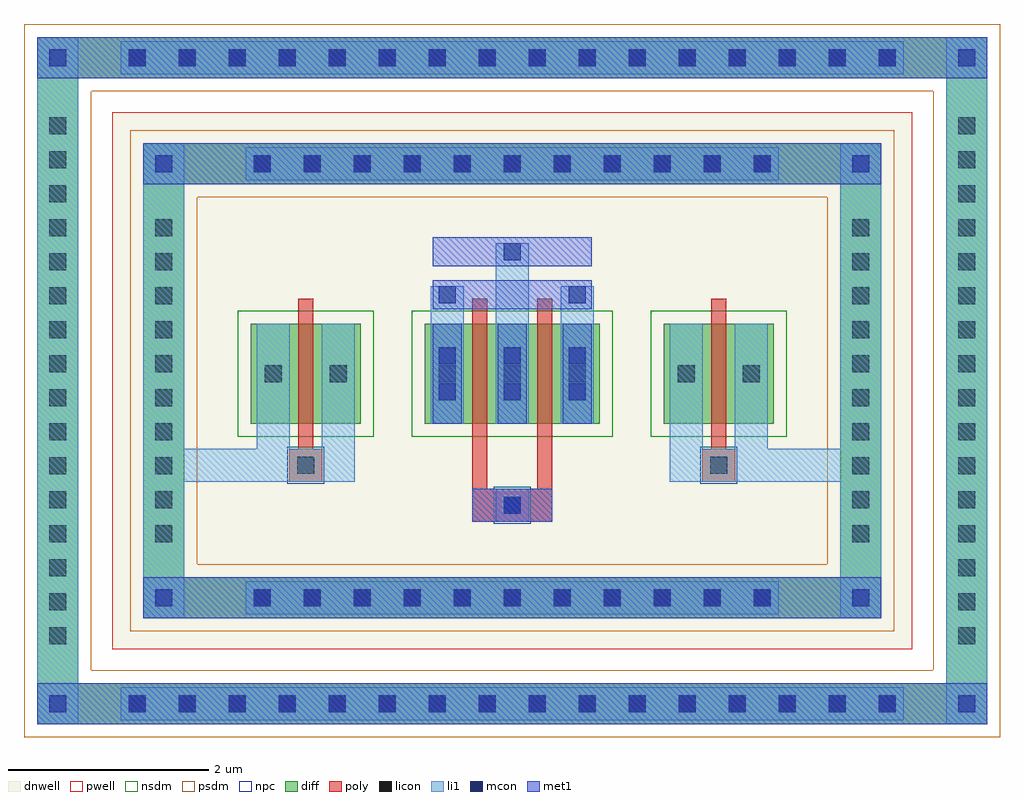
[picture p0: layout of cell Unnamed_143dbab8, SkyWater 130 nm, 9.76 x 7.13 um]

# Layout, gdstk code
import gdstk
lib = gdstk.Library(unit=1e-6, precision=5e-09)
def R(c, l, rs):  # rectangles x0, y0, x1, y1
    for r in rs: c.add(gdstk.rectangle(r[:2], r[2:], *l))
def A(c, l, x, y, w, h, nx, ny, dx, dy):  # array of equal rectangles
    R(c, l, [(x+i*dx, y+j*dy, x+i*dx+w, y+j*dy+h) for i in range(nx) for j in range(ny)])
def P(c, l, *ps):  # polygons
    for p in ps: c.add(gdstk.Polygon(p, *l))
dnwell = (64, 18)
pwell = (64, 44)
diff = (65, 20)
poly = (66, 20)
licon = (66, 44)
li1 = (67, 20)
mcon = (67, 44)
met1 = (68, 20)
nsdm = (93, 44)
psdm = (94, 20)
npc = (95, 20)

unnamed_143dbab8 = lib.new_cell('Unnamed_143dbab8')
R(unnamed_143dbab8, dnwell, [(-4,-2.685,4,2.685)])
R(unnamed_143dbab8, pwell, [(-4,-2.685,4,2.685)])
A(unnamed_143dbab8, diff, -3.955, -3.435, 0.41, 0.41, 16, 2, 0.5, 6.46)
A(unnamed_143dbab8, diff, -4.75, -2.755, 0.41, 0.41, 1, 16, 0, 0.34)
A(unnamed_143dbab8, diff, 4.34, -2.755, 0.41, 0.41, 1, 16, 0, 0.34)
A(unnamed_143dbab8, diff, -2.705, -2.375, 0.41, 0.41, 11, 2, 0.5, 4.34)
A(unnamed_143dbab8, diff, -3.69, -1.735, 0.41, 0.41, 1, 10, 0, 0.34)
A(unnamed_143dbab8, diff, 3.28, -1.735, 0.41, 0.41, 1, 10, 0, 0.34)
R(unnamed_143dbab8, diff, [(-3.955,-3.435,3.955,-3.025), (-4.75,-2.755,-4.34,2.755), (4.34,-2.755,4.75,2.755), (-2.705,-2.375,2.705,-1.965), (-3.69,-1.735,-3.28,1.735), (3.28,-1.735,3.69,1.735), (-2.615,-0.43,-1.515,0.57), (-0.875,-0.43,0.875,0.57), (1.515,-0.43,2.615,0.57), (-2.705,1.965,2.705,2.375), (-3.955,3.025,3.955,3.435)])
P(unnamed_143dbab8, diff, [(4.75,3.435),(-4.75,3.435),(-4.75,-3.025),(-4.34,-3.025),(-4.34,3.025),(4.34,3.025),(4.34,-3.025),(-4.34,-3.025),(-4.75,-3.025),(-4.75,-3.435),(4.75,-3.435)],
  [(3.69,2.375),(-3.69,2.375),(-3.69,-1.965),(-3.28,-1.965),(-3.28,1.965),(3.28,1.965),(3.28,-1.965),(-3.28,-1.965),(-3.69,-1.965),(-3.69,-2.375),(3.69,-2.375)])
R(unnamed_143dbab8, poly, [(-0.4,-1.41,0.4,-1.08), (-0.165,-1.41,0.165,-1.08), (-0.4,-1.08,-0.25,-0.68), (0.25,-1.08,0.4,-0.68), (-2.23,-1.01,-1.9,-0.68), (-2.23,-1.01,-1.9,-0.68), (1.9,-1.01,2.23,-0.68), (1.9,-1.01,2.23,-0.68), (-2.14,-0.68,-1.99,0.82), (-0.4,-0.68,-0.25,0.82), (0.25,-0.68,0.4,0.82), (1.99,-0.68,2.14,0.82)])
A(unnamed_143dbab8, licon, -3.835, -3.315, 0.17, 0.17, 16, 2, 0.5, 6.46)
A(unnamed_143dbab8, licon, -4.63, -2.635, 0.17, 0.17, 1, 16, 0, 0.34)
A(unnamed_143dbab8, licon, 4.46, -2.635, 0.17, 0.17, 1, 16, 0, 0.34)
A(unnamed_143dbab8, licon, -2.585, -2.255, 0.17, 0.17, 11, 2, 0.5, 4.34)
A(unnamed_143dbab8, licon, -3.57, -1.615, 0.17, 0.17, 1, 10, 0, 0.34)
A(unnamed_143dbab8, licon, 3.4, -1.615, 0.17, 0.17, 1, 10, 0, 0.34)
A(unnamed_143dbab8, licon, -0.735, -0.015, 0.17, 0.17, 3, 1, 0.65, 0)
R(unnamed_143dbab8, licon, [(-0.085,-1.33,0.085,-1.16), (-2.15,-0.93,-1.98,-0.76), (1.98,-0.93,2.15,-0.76), (-2.475,-0.015,-2.305,0.155), (-1.825,-0.015,-1.655,0.155), (1.655,-0.015,1.825,0.155), (2.305,-0.015,2.475,0.155)])
A(unnamed_143dbab8, li1, -3.915, -3.395, 0.33, 0.33, 16, 2, 0.5, 6.46)
A(unnamed_143dbab8, li1, -4.71, -2.715, 0.33, 0.33, 1, 16, 0, 0.34)
A(unnamed_143dbab8, li1, 4.38, -2.715, 0.33, 0.33, 1, 16, 0, 0.34)
A(unnamed_143dbab8, li1, -2.665, -2.335, 0.33, 0.33, 11, 2, 0.5, 4.34)
A(unnamed_143dbab8, li1, -3.65, -1.695, 0.33, 0.33, 1, 10, 0, 0.34)
A(unnamed_143dbab8, li1, 3.32, -1.695, 0.33, 0.33, 1, 10, 0, 0.34)
A(unnamed_143dbab8, li1, -0.815, -0.43, 0.33, 1, 3, 1, 0.65, 0)
A(unnamed_143dbab8, li1, -0.735, -0.195, 0.17, 0.17, 3, 2, 0.65, 0.36)
A(unnamed_143dbab8, li1, -0.735, -0.195, 0.17, 0.53, 3, 1, 0.65, 0)
A(unnamed_143dbab8, li1, -0.815, -0.095, 0.33, 0.33, 3, 1, 0.65, 0)
R(unnamed_143dbab8, li1, [(-4.75,-3.435,-4.34,-3.025), (4.34,-3.435,4.75,-3.025), (-3.915,-3.395,3.915,-3.065), (-4.63,-3.315,-4.46,-3.145), (-4.63,-3.315,-4.46,-3.145), (4.46,-3.315,4.63,-3.145), (4.46,-3.315,4.63,-3.145), (-4.75,-3.025,-4.34,3.025), (4.34,-3.025,4.75,3.025), (-3.69,-2.375,-3.28,-1.965), (3.28,-2.375,3.69,-1.965), (-2.665,-2.335,2.665,-2.005), (-3.57,-2.255,-3.4,-2.085), (-3.57,-2.255,-3.4,-2.085), (3.4,-2.255,3.57,-2.085), (3.4,-2.255,3.57,-2.085), (-3.69,-1.965,-3.28,1.965), (3.28,-1.965,3.69,1.965), (-0.165,-1.41,0.165,-1.08), (-3.69,-1.01,-2.23,-0.68), (-2.555,-1.01,-2.23,-0.68), (-2.555,-1.01,-2.225,-0.43), (-2.23,-1.01,-1.9,-0.68), (-1.905,-1.01,-1.575,-0.43), (-1.9,-1.01,-1.575,-0.68), (1.575,-1.01,1.9,-0.68), (1.575,-1.01,1.905,-0.43), (1.9,-1.01,2.23,-0.68), (1.9,-1.01,3.69,-0.68), (2.225,-1.01,2.555,-0.43), (2.23,-1.01,2.555,-0.68), (-2.555,-0.43,-2.225,0.57), (-1.905,-0.43,-1.575,0.57), (1.575,-0.43,1.905,0.57), (2.225,-0.43,2.555,0.57), (-2.555,-0.095,-2.225,0.235), (-1.905,-0.095,-1.575,0.235), (1.575,-0.095,1.905,0.235), (2.225,-0.095,2.555,0.235), (-0.815,0.57,-0.485,0.945), (-0.165,0.57,0.165,1.375), (0.485,0.57,0.815,0.945), (-0.735,0.775,-0.565,0.945), (0.565,0.775,0.735,0.945), (-0.085,1.205,0.085,1.375), (-3.69,1.965,-3.28,2.375), (3.28,1.965,3.69,2.375), (-2.665,2.005,2.665,2.335), (-3.57,2.085,-3.4,2.255), (-3.57,2.085,-3.4,2.255), (3.4,2.085,3.57,2.255), (3.4,2.085,3.57,2.255), (-4.75,3.025,-4.34,3.435), (4.34,3.025,4.75,3.435), (-3.915,3.065,3.915,3.395), (-4.63,3.145,-4.46,3.315), (-4.63,3.145,-4.46,3.315), (4.46,3.145,4.63,3.315), (4.46,3.145,4.63,3.315)])
A(unnamed_143dbab8, mcon, -3.835, -3.315, 0.17, 0.17, 16, 2, 0.5, 6.46)
A(unnamed_143dbab8, mcon, -2.585, -2.255, 0.17, 0.17, 11, 2, 0.5, 4.34)
A(unnamed_143dbab8, mcon, -0.735, -0.195, 0.17, 0.17, 3, 2, 0.65, 0.36)
R(unnamed_143dbab8, mcon, [(-4.63,-3.315,-4.46,-3.145), (4.46,-3.315,4.63,-3.145), (-3.57,-2.255,-3.4,-2.085), (3.4,-2.255,3.57,-2.085), (-0.085,-1.33,0.085,-1.16), (-0.735,0.775,-0.565,0.945), (0.565,0.775,0.735,0.945), (-0.085,1.205,0.085,1.375), (-3.57,2.085,-3.4,2.255), (3.4,2.085,3.57,2.255), (-4.63,3.145,-4.46,3.315), (4.46,3.145,4.63,3.315)])
A(unnamed_143dbab8, met1, -3.895, -3.375, 0.29, 0.29, 16, 2, 0.5, 6.46)
A(unnamed_143dbab8, met1, -2.645, -2.315, 0.29, 0.29, 11, 2, 0.5, 4.34)
A(unnamed_143dbab8, met1, -0.795, -0.43, 0.29, 1, 3, 1, 0.65, 0)
A(unnamed_143dbab8, met1, -0.795, -0.255, 0.29, 0.29, 3, 2, 0.65, 0.36)
R(unnamed_143dbab8, met1, [(-4.75,-3.435,-4.34,-3.025), (-4.75,-3.435,-4.34,-3.025), (-4.34,-3.435,4.34,-3.025), (4.34,-3.435,4.75,-3.025), (4.34,-3.435,4.75,-3.025), (-4.69,-3.375,-4.4,-3.085), (4.4,-3.375,4.69,-3.085), (-3.69,-2.375,-3.28,-1.965), (-3.69,-2.375,-3.28,-1.965), (-3.28,-2.375,3.28,-1.965), (3.28,-2.375,3.69,-1.965), (3.28,-2.375,3.69,-1.965), (-3.63,-2.315,-3.34,-2.025), (3.34,-2.315,3.63,-2.025), (-0.4,-1.41,0.4,-1.08), (-0.145,-1.39,0.145,-1.1), (-0.795,0.715,-0.505,1.005), (-0.795,0.715,0.795,1.005), (0.505,0.715,0.795,1.005), (-0.795,1.145,0.795,1.435), (-0.145,1.145,0.145,1.435), (-3.69,1.965,-3.28,2.375), (-3.69,1.965,-3.28,2.375), (-3.28,1.965,3.28,2.375), (3.28,1.965,3.69,2.375), (3.28,1.965,3.69,2.375), (-3.63,2.025,-3.34,2.315), (3.34,2.025,3.63,2.315), (-4.75,3.025,-4.34,3.435), (-4.75,3.025,-4.34,3.435), (-4.34,3.025,4.34,3.435), (4.34,3.025,4.75,3.435), (4.34,3.025,4.75,3.435), (-4.69,3.085,-4.4,3.375), (4.4,3.085,4.69,3.375)])
R(unnamed_143dbab8, nsdm, [(-2.745,-0.56,-1.385,0.7), (-1.005,-0.56,1.005,0.7), (1.385,-0.56,2.745,0.7)])
P(unnamed_143dbab8, psdm, [(4.88,3.565),(-4.88,3.565),(-4.88,-2.895),(-4.21,-2.895),(-4.21,2.895),(4.21,2.895),(4.21,-2.895),(-4.21,-2.895),(-4.88,-2.895),(-4.88,-3.565),(4.88,-3.565)],
  [(3.82,2.505),(-3.82,2.505),(-3.82,-1.835),(-3.15,-1.835),(-3.15,1.835),(3.15,1.835),(3.15,-1.835),(-3.15,-1.835),(-3.82,-1.835),(-3.82,-2.505),(3.82,-2.505)])
R(unnamed_143dbab8, npc, [(-0.185,-1.43,0.185,-1.06), (-2.25,-1.03,-1.88,-0.66), (1.88,-1.03,2.25,-0.66)])

lib.write_gds('Unnamed_143dbab8.gds')
